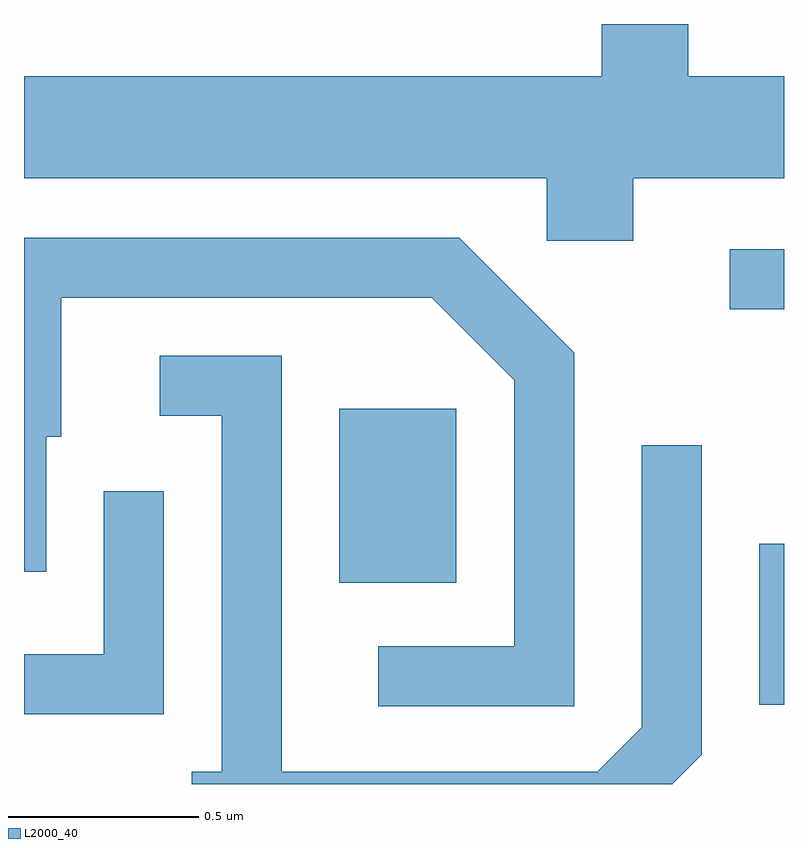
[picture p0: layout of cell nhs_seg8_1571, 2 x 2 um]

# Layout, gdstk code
import gdstk
lib = gdstk.Library(unit=1e-6, precision=1e-09)
def R(c, l, rs):  # rectangles x0, y0, x1, y1
    for r in rs: c.add(gdstk.rectangle(r[:2], r[2:], *l))
def P(c, l, *ps):  # polygons
    for p in ps: c.add(gdstk.Polygon(p, *l))
L2000_40 = (2000, 40)

nhs_seg8_1571 = lib.new_cell('nhs_seg8_1571')
R(nhs_seg8_1571, L2000_40, [(198.546,1870.551,198.611,1870.974), (197.441,1870.871,197.749,1871.329), (198.468,1871.591,198.611,1871.749)])
P(nhs_seg8_1571, L2000_40, [(198.214,1871.936),(198.611,1871.936),(198.611,1872.204),(198.359,1872.204),(198.359,1872.342),(198.131,1872.342),(198.131,1872.204),(196.611,1872.204),(196.611,1871.936),(197.986,1871.936),(197.986,1871.771),(198.214,1871.771)],
  [(198.059,1871.477),(197.757,1871.779),(196.611,1871.779),(196.611,1870.901),(196.669,1870.901),(196.669,1871.256),(196.709,1871.256),(196.709,1871.621),(197.684,1871.621),(197.901,1871.404),(197.901,1870.704),(197.543,1870.704),(197.543,1870.546),(198.059,1870.546)],
  [(198.394,1870.419),(198.394,1871.233),(198.236,1871.233),(198.236,1870.492),(198.119,1870.374),(197.289,1870.374),(197.289,1871.469),(196.968,1871.469),(196.968,1871.311),(197.131,1871.311),(197.131,1870.374),(197.053,1870.374),(197.053,1870.342),(198.317,1870.342)],
  [(196.979,1871.113),(196.821,1871.113),(196.821,1870.684),(196.611,1870.684),(196.611,1870.526),(196.979,1870.526)])

lib.write_gds('nhs_seg8_1571.gds')
